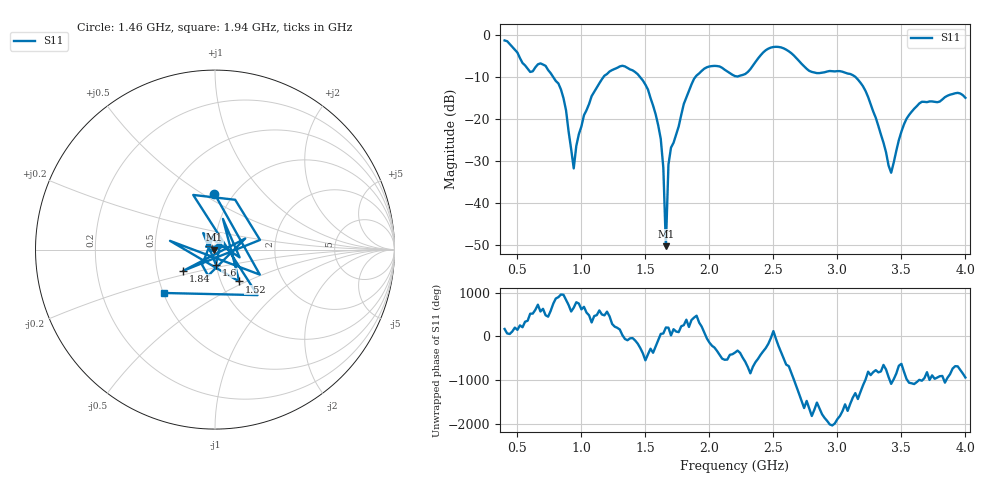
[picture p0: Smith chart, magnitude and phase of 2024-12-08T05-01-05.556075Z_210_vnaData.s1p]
!Created with skrf (http://scikit-rf.org).
# Hz S RI R 50.0
!freq ReS11 ImS11
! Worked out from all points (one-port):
!   181 points, 400 MHz to 4 GHz, reference 50 ohm
!   lowest |S11| = -50.3 dB at 1.66 GHz (marker M1), VSWR 1.01, Z = 49.7 - j0.113 ohm
!   |S11| at or under -10 dB: 778.1 MHz to 1.174 GHz (395.6 MHz wide, 40.5 % of centre); 1.457 GHz to 1.892 GHz (435.4 MHz wide, 26 % of centre); 3.14 GHz to end of sweep
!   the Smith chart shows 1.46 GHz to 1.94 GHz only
!   S11 on the Smith chart (normalised r, x): 1.46 GHz: 0.82, +0.56; 1.52 GHz: 1.22, -0.46; 1.6 GHz: 1.00, -0.17; 1.84 GHz: 0.68, -0.17; 1.94 GHz: 0.51, -0.28
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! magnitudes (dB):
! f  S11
! 400 MHz  -1.3
! 600 MHz  -8.8
! 720 MHz  -7.4
! 860 MHz  -15.1
! 940 MHz  -31.8
! 980 MHz  -23.7
! 1.08 GHz  -14.6
! 1.3 GHz  -7.5
! 1.46 GHz  -10.1
! 1.52 GHz  -13.0
! 1.6 GHz  -21.6
! 1.64 GHz  -31.6
! 1.66 GHz  -50.3
! 1.68 GHz  -30.9
! 1.76 GHz  -21.8
! 1.84 GHz  -13.4
! 1.94 GHz  -8.6
! 2.2 GHz  -9.8
! 2.48 GHz  -3.0
! 2.66 GHz  -4.9
! 2.8 GHz  -8.8
! 3.1 GHz  -9.3
! 3.24 GHz  -14.8
! 3.42 GHz  -32.8
! 3.5 GHz  -23.1
! 3.56 GHz  -19.1
! 3.66 GHz  -15.9
! 4 GHz  -15.0
